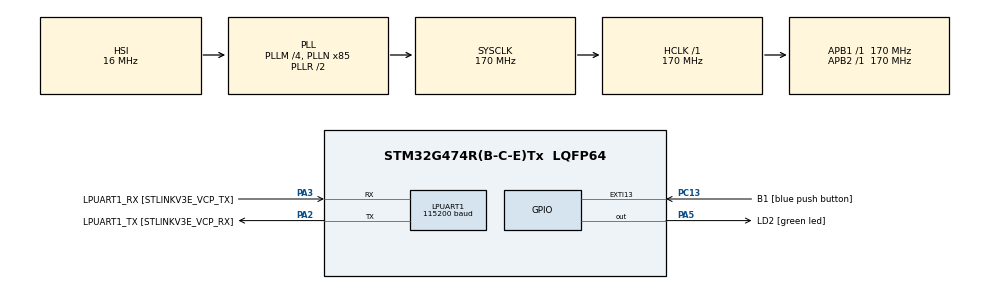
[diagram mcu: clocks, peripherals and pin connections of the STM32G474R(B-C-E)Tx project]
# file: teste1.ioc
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Dma.LPUART1_RX.0.Direction=DMA_PERIPH_TO_MEMORY
Dma.LPUART1_RX.0.EventEnable=DISABLE
Dma.LPUART1_RX.0.Instance=DMA1_Channel1
Dma.LPUART1_RX.0.MemDataAlignment=DMA_MDATAALIGN_BYTE
Dma.LPUART1_RX.0.MemInc=DMA_MINC_ENABLE
Dma.LPUART1_RX.0.Mode=DMA_CIRCULAR
Dma.LPUART1_RX.0.PeriphDataAlignment=DMA_PDATAALIGN_BYTE
Dma.LPUART1_RX.0.PeriphInc=DMA_PINC_DISABLE
Dma.LPUART1_RX.0.Polarity=HAL_DMAMUX_REQ_GEN_RISING
Dma.LPUART1_RX.0.Priority=DMA_PRIORITY_VERY_HIGH
Dma.LPUART1_RX.0.RequestNumber=1
Dma.LPUART1_RX.0.SignalID=NONE
Dma.LPUART1_RX.0.SyncEnable=DISABLE
Dma.LPUART1_RX.0.SyncPolarity=HAL_DMAMUX_SYNC_NO_EVENT
Dma.LPUART1_RX.0.SyncRequestNumber=1
Dma.LPUART1_RX.0.SyncSignalID=NONE
Dma.LPUART1_TX.1.Direction=DMA_MEMORY_TO_PERIPH
Dma.LPUART1_TX.1.EventEnable=DISABLE
Dma.LPUART1_TX.1.Instance=DMA1_Channel2
Dma.LPUART1_TX.1.MemDataAlignment=DMA_MDATAALIGN_BYTE
Dma.LPUART1_TX.1.MemInc=DMA_MINC_ENABLE
Dma.LPUART1_TX.1.Mode=DMA_NORMAL
Dma.LPUART1_TX.1.PeriphDataAlignment=DMA_PDATAALIGN_BYTE
Dma.LPUART1_TX.1.PeriphInc=DMA_PINC_DISABLE
Dma.LPUART1_TX.1.Polarity=HAL_DMAMUX_REQ_GEN_RISING
Dma.LPUART1_TX.1.Priority=DMA_PRIORITY_VERY_HIGH
Dma.LPUART1_TX.1.RequestNumber=1
Dma.LPUART1_TX.1.SignalID=NONE
Dma.LPUART1_TX.1.SyncEnable=DISABLE
Dma.LPUART1_TX.1.SyncPolarity=HAL_DMAMUX_SYNC_NO_EVENT
Dma.LPUART1_TX.1.SyncRequestNumber=1
Dma.LPUART1_TX.1.SyncSignalID=NONE
Dma.Request0=LPUART1_RX
Dma.Request1=LPUART1_TX
FREERTOS.Tasks01=microROSTask,24,3000,microROSTaskFunction,Default,NULL,Dynamic,NULL,NULL
FREERTOS.configTOTAL_HEAP_SIZE=20000
FREERTOS.configUSE_NEWLIB_REENTRANT=1
LPUART1.BaudRate=115200
Mcu.Family=STM32G4
Mcu.Name=STM32G474R(B-C-E)Tx
Mcu.Package=LQFP64
NVIC.DMA1_Channel1_IRQn=true\:5\:0\:false\:false\:true\:true\:false\:true\:true
NVIC.DMA1_Channel2_IRQn=true\:5\:0\:false\:false\:true\:true\:false\:true\:true
NVIC.EXTI15_10_IRQn=true\:5\:0\:false\:false\:true\:true\:true\:true\:true
NVIC.LPUART1_IRQn=true\:5\:0\:false\:false\:true\:true\:true\:true\:true
NVIC.PriorityGroup=NVIC_PRIORITYGROUP_4
NVIC.TIM6_DAC_IRQn=true\:15\:0\:false\:false\:true\:false\:false\:true\:true
NVIC.TimeBase=TIM6_DAC_IRQn
NVIC.TimeBaseIP=TIM6
PA13.GPIO_Label=T_SWDIO
PA13.Signal=SYS_JTMS-SWDIO
PA14.GPIO_Label=T_SWCLK
PA14.Signal=SYS_JTCK-SWCLK
PA2.GPIO_Label=LPUART1_TX [STLINKV3E_VCP_RX]
PA2.Mode=Asynchronous
PA2.Signal=LPUART1_TX
PA3.GPIO_Label=LPUART1_RX [STLINKV3E_VCP_TX]
PA3.Mode=Asynchronous
PA3.Signal=LPUART1_RX
PA5.GPIO_Label=LD2 [green led]
PA5.Signal=GPIO_Output
PB3.GPIO_Label=T_SWO
PB3.Signal=SYS_JTDO-SWO
PC13.GPIO_Label=B1 [blue push button]
PC13.Signal=GPXTI13
PC14-OSC32_IN.GPIO_Label=RCC_OSC32_IN
PC14-OSC32_IN.Signal=RCC_OSC32_IN
PC15-OSC32_OUT.GPIO_Label=RCC_OSC32_OUT
PC15-OSC32_OUT.Signal=RCC_OSC32_OUT
PF0-OSC_IN.GPIO_Label=RCC_OSC_IN
PF0-OSC_IN.Signal=RCC_OSC_IN
PF1-OSC_OUT.GPIO_Label=RCC_OSC_OUT
PF1-OSC_OUT.Signal=RCC_OSC_OUT
ProjectManager.HeapSize=0x200
ProjectManager.StackSize=0x400
ProjectManager.TargetToolchain=STM32CubeIDE
RCC.ADC12Freq_Value=170000000
RCC.ADC345Freq_Value=170000000
RCC.AHBFreq_Value=170000000
RCC.APB1Freq_Value=170000000
RCC.APB1TimFreq_Value=170000000
RCC.APB2Freq_Value=170000000
RCC.APB2TimFreq_Value=170000000
RCC.CortexFreq_Value=170000000
RCC.EXTERNAL_CLOCK_VALUE=12288000
RCC.HCLKFreq_Value=170000000
RCC.HSE_VALUE=24000000
RCC.HSI48_VALUE=48000000
RCC.HSI_VALUE=16000000
RCC.LSE_VALUE=32768
RCC.PLLM=RCC_PLLM_DIV4
RCC.PLLN=85
RCC.RTCClockSelection=RCC_RTCCLKSOURCE_LSE
RCC.SYSCLKFreq_VALUE=170000000
RCC.SYSCLKSource=RCC_SYSCLKSOURCE_PLLCLK
RCC.USBFreq_Value=170000000
RCC.VCOOutputFreq_Value=340000000
VP_FREERTOS_VS_CMSIS_V2.Mode=CMSIS_V2
VP_SYS_VS_DBSignals.Mode=DisableDeadBatterySignals
VP_SYS_VS_tim6.Mode=TIM6
board=NUCLEO-G474RE

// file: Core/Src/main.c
/* USER CODE BEGIN Header */
/**
  ******************************************************************************
  * @file           : main.c
  * @brief          : Main program body
  ******************************************************************************
  * @attention
  *
  * Copyright (c) 2024 STMicroelectronics.
  * All rights reserved.
  *
  * This software is licensed under terms that can be found in the LICENSE file
  * in the root directory of this software component.
  * If no LICENSE file comes with this software, it is provided AS-IS.
  *
  ******************************************************************************
  */
/* USER CODE END Header */
#include "main.h"
#include "cmsis_os.h"
#include "dma.h"
#include "usart.h"
#include "gpio.h"

void SystemClock_Config(void);
void MX_FREERTOS_Init(void);

int main(void)
{

  /* MCU Configuration--------------------------------------------------------*/

  /* Reset of all peripherals, Initializes the Flash interface and the Systick. */
  HAL_Init();

  /* Configure the system clock */
  SystemClock_Config();

  /* Initialize all configured peripherals */
  MX_GPIO_Init();
  MX_DMA_Init();
  MX_LPUART1_UART_Init();

  /* Init scheduler */
  osKernelInitialize();

  /* Call init function for freertos objects (in cmsis_os2.c) */
  MX_FREERTOS_Init();

  /* Start scheduler */
  osKernelStart();

  /* We should never get here as control is now taken by the scheduler */

  /* Infinite loop */
  while (1)
  {

  }
}

void SystemClock_Config(void)
{
  RCC_OscInitTypeDef RCC_OscInitStruct = {0};
  RCC_ClkInitTypeDef RCC_ClkInitStruct = {0};

  /** Configure the main internal regulator output voltage
  */
  HAL_PWREx_ControlVoltageScaling(PWR_REGULATOR_VOLTAGE_SCALE1_BOOST);

  /** Initializes the RCC Oscillators according to the specified parameters
  * in the RCC_OscInitTypeDef structure.
  */
  RCC_OscInitStruct.OscillatorType = RCC_OSCILLATORTYPE_HSI;
  RCC_OscInitStruct.HSIState = RCC_HSI_ON;
  RCC_OscInitStruct.HSICalibrationValue = RCC_HSICALIBRATION_DEFAULT;
  RCC_OscInitStruct.PLL.PLLState = RCC_PLL_ON;
  RCC_OscInitStruct.PLL.PLLSource = RCC_PLLSOURCE_HSI;
  RCC_OscInitStruct.PLL.PLLM = RCC_PLLM_DIV4;
  RCC_OscInitStruct.PLL.PLLN = 85;
  RCC_OscInitStruct.PLL.PLLP = RCC_PLLP_DIV2;
  RCC_OscInitStruct.PLL.PLLQ = RCC_PLLQ_DIV2;
  RCC_OscInitStruct.PLL.PLLR = RCC_PLLR_DIV2;
  if (HAL_RCC_OscConfig(&RCC_OscInitStruct) != HAL_OK)
  {
    Error_Handler();
  }

  /** Initializes the CPU, AHB and APB buses clocks
  */
  RCC_ClkInitStruct.ClockType = RCC_CLOCKTYPE_HCLK|RCC_CLOCKTYPE_SYSCLK
                              |RCC_CLOCKTYPE_PCLK1|RCC_CLOCKTYPE_PCLK2;
  RCC_ClkInitStruct.SYSCLKSource = RCC_SYSCLKSOURCE_PLLCLK;
  RCC_ClkInitStruct.AHBCLKDivider = RCC_SYSCLK_DIV1;
  RCC_ClkInitStruct.APB1CLKDivider = RCC_HCLK_DIV1;
  RCC_ClkInitStruct.APB2CLKDivider = RCC_HCLK_DIV1;

  if (HAL_RCC_ClockConfig(&RCC_ClkInitStruct, FLASH_LATENCY_4) != HAL_OK)
  {
    Error_Handler();
  }
}

void HAL_TIM_PeriodElapsedCallback(TIM_HandleTypeDef *htim)
{
  if (htim->Instance == TIM6) {
    HAL_IncTick();
  }
}

void Error_Handler(void)
{
  __disable_irq();
  while (1)
  {
  }
}

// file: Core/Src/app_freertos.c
/* USER CODE BEGIN Header */
/**
  ******************************************************************************
  * File Name          : app_freertos.c
  * Description        : Code for freertos applications
  ******************************************************************************
  * @attention
  *
  * <h2><center>&copy; Copyright (c) 2021 STMicroelectronics.
  * All rights reserved.</center></h2>
  *
  * This software component is licensed by ST under Ultimate Liberty license
  * SLA0044, the "License"; You may not use this file except in compliance with
  * the License. You may obtain a copy of the License at:
  *                             www.st.com/SLA0044
  *
  ******************************************************************************
  */
/* USER CODE END Header */

#include "FreeRTOS.h"
#include "task.h"
#include "main.h"
#include "cmsis_os.h"

/* USER CODE BEGIN Includes */
#include <rcl/rcl.h>
#include <rcl/error_handling.h>
#include <rclc/rclc.h>
#include <rclc/executor.h>
#include <uxr/client/transport.h>
#include <rmw_microxrcedds_c/config.h>
#include <rmw_microros/rmw_microros.h>
#include <rosidl_runtime_c/string.h>

#include <time.h>

#include <sensor_msgs/msg/joint_state.h>             // for the encoder msg
#include <geometry_msgs/msg/twist.h>                 // for the motors control
#include <std_msgs/msg/int32.h>
#include <actuator_msgs/msg/actuators.h>
/* USER CODE END Includes */

/* USER CODE BEGIN Variables */

extern UART_HandleTypeDef hlpuart1;

/* Subscriber declaration */
rcl_subscription_t cmd_vel_sub;

/* Publisher declaration */
rcl_publisher_t joint_state_pub;

/* ROS timer declaration */
rcl_timer_t timer;

/* Messages declaration */
//std_msgs__msg__Int32 joint_state_msg;
actuator_msgs__msg__Actuators joint_state_msg;
//sensor_msgs__msg__JointState joint_state_msg;
geometry_msgs__msg__Twist cmd_vel_msg;

/* USER CODE END Variables */
/* Definitions for microROSTask */
osThreadId_t microROSTaskHandle;
const osThreadAttr_t microROSTask_attributes = {
  .name = "microROSTask",
  .priority = (osPriority_t) osPriorityNormal,
  .stack_size = 3000 * 4
};

/* USER CODE BEGIN FunctionPrototypes */
bool cubemx_transport_open(struct uxrCustomTransport * transport);
bool cubemx_transport_close(struct uxrCustomTransport * transport);
size_t cubemx_transport_write(struct uxrCustomTransport* transport, const uint8_t * buf, size_t len, uint8_t * err);
size_t cubemx_transport_read(struct uxrCustomTransport* transport, uint8_t* buf, size_t len, int timeout, uint8_t* err);

void * microros_allocate(size_t size, void * state);
void microros_deallocate(void * pointer, void * state);
void * microros_reallocate(void * pointer, size_t size, void * state);
void * microros_zero_allocate(size_t number_of_elements, size_t size_of_element, void * state);

//extern int clock_gettime( int clock_id, struct timespec * tp );
extern void UTILS_NanosecondsToTimespec( int64_t llSource, struct timespec * const pxDestination );
void setActuatorMsg(float *);
void sendActuatorMsg();
/* USER CODE END FunctionPrototypes */

void microROSTaskFunction(void *argument);

void MX_FREERTOS_Init(void); /* (MISRA C 2004 rule 8.1) */

void MX_FREERTOS_Init(void) {

  /* Create the thread(s) */
  /* creation of microROSTask */
  microROSTaskHandle = osThreadNew(microROSTaskFunction, NULL, &microROSTask_attributes);

}

void microROSTaskFunction(void *argument)
{
  /* USER CODE BEGIN microROSTaskFunction */

  // micro-ROS configuration
  rmw_uros_set_custom_transport(
	true,
	(void *) &hlpuart1,
	cubemx_transport_open,
	cubemx_transport_close,
	cubemx_transport_write,
	cubemx_transport_read);

  rcl_allocator_t freeRTOS_allocator = rcutils_get_zero_initialized_allocator();
  freeRTOS_allocator.allocate = microros_allocate;
  freeRTOS_allocator.deallocate = microros_deallocate;
  freeRTOS_allocator.reallocate = microros_reallocate;
  freeRTOS_allocator.zero_allocate =  microros_zero_allocate;

  if (!rcutils_set_default_allocator(&freeRTOS_allocator)) {
	  printf("Error on default allocators (line %d)\n", __LINE__);
  }

	rcl_allocator_t allocator = rcl_get_default_allocator();
	// Initialize and modify options (Set DOMAIN ID to 10)
	rcl_init_options_t init_options = rcl_get_zero_initialized_init_options();
	rcl_init_options_init(&init_options, allocator);
	rcl_init_options_set_domain_id(&init_options, 25);
	// Initialize rclc support object with custom options
	rclc_support_t support;
	rclc_support_init_with_options(&support, 0, NULL, &init_options, &allocator);
	// Create node object
	rcl_node_t node;
	const char * node_name = "test_node";
	// Node namespace (Can remain empty "")
	const char * namespace = "test_namespace";
	// Init node with configured support object
	rcl_ret_t rc2 = rclc_node_init_default(&node, node_name, namespace, &support);
	while (rc2 != RCL_RET_OK) {
		for(int i=0;i<10;i++){
			HAL_GPIO_TogglePin(LD2_GPIO_Port , LD2_Pin);
			osDelay(500);
		}
		rc2 = rclc_node_init_default(&node, node_name, namespace, &support);
	}

//  //time sync
//  if( rmw_uros_sync_session(1000) != RMW_RET_OK)
//	  printf("Error on time sync (line %d)\n", __LINE__);

  rclc_publisher_init_default(
   	&joint_state_pub,
   	&node,
 	ROSIDL_GET_MSG_TYPE_SUPPORT(actuator_msgs,msg,Actuators),
   	"/X3/gazebo/command/motor_speed");

    float a_velocity[] = {500,500,100,100};
    setActuatorMsg(a_velocity);
  /* Infinite loop */
  for(;;)
  {

	  osDelay(1000);
	  sendActuatorMsg();
	  //joint_state_msg.data = i;
  }
  /* USER CODE END microROSTaskFunction */
}

/* USER CODE BEGIN Application */
/*
 * Função responsável por definir o formato da mensagem do atuator.
 * Essa mensagem tem um header composoto por
	 * header : { stamp: {sec:0,nanosec:0}, frame_id:''}
	 * position: []
	 * velocity: []
	 * normalized: []
 * Só nos interessa a velocidade. Então o argumento da função é um ponteiro de float com 4 posições
 */
void setActuatorMsg(float *fpVelocity){
	joint_state_msg.header.frame_id.capacity = 20;
	joint_state_msg.header.frame_id.data = (char*) pvPortMalloc(joint_state_msg.header.frame_id.capacity  * sizeof(char));
	joint_state_msg.header.frame_id.size = strlen(joint_state_msg.header.frame_id.data);

	joint_state_msg.velocity.capacity = 4;
	joint_state_msg.velocity.data = (double*) pvPortMalloc(joint_state_msg.velocity.capacity * sizeof(double));
	joint_state_msg.velocity.data[0] = fpVelocity[0];
	joint_state_msg.velocity.data[1] = fpVelocity[1];
	joint_state_msg.velocity.data[2] = fpVelocity[2];
	joint_state_msg.velocity.data[3] = fpVelocity[3];
	joint_state_msg.velocity_data[4] = isDataNew;
	joint_state_msg.velocity.size = 4;
}

void sendActuatorMsg(){
	rcl_ret_t ret = rcl_publish(&joint_state_pub, &joint_state_msg, NULL);
	if (ret != RCL_RET_OK)
	{
			  printf("Error publishing joint_state (line %d)\n", __LINE__);
	}

}
/* USER CODE END Application */
